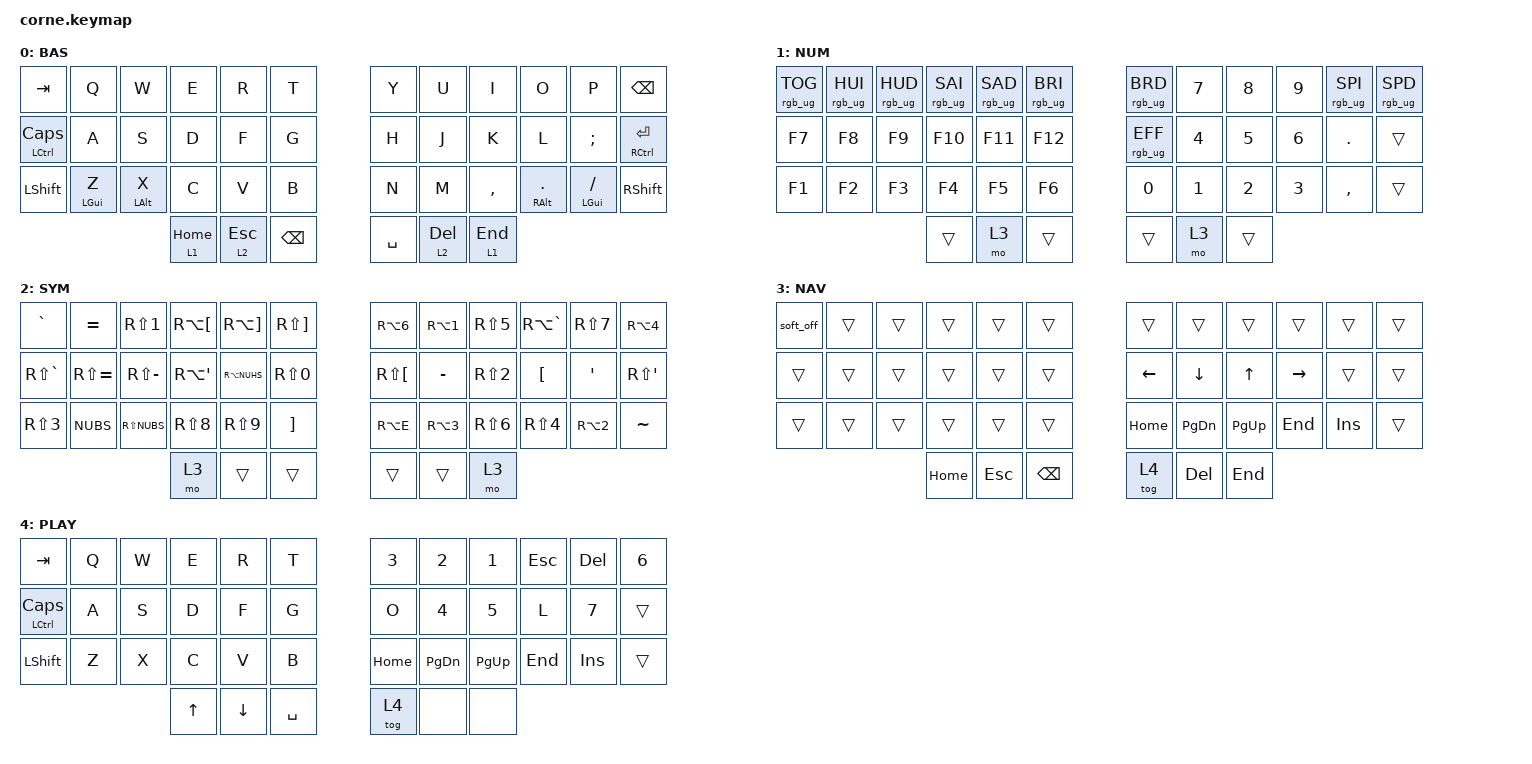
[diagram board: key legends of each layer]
/*
 * Copyright (c) 2020 The ZMK Contributors
 *
 * SPDX-License-Identifier: MIT
 */

#include <behaviors.dtsi>
#include <dt-bindings/zmk/bt.h>
#include <dt-bindings/zmk/keys.h>
#include <dt-bindings/zmk/mouse.h>
#include <dt-bindings/zmk/rgb.h>

//número de leds
&led_strip{
	chain-length = <27>;
};

&lt {
	tapping-term-ms = <100>;
	flavor = "hold-preferred";
};

/ {
	behaviors {
		tp_mt: tap-preferred-mod-tap {
			compatible = "zmk,behavior-hold-tap";
			#binding-cells = <2>;
			flavor = "tap-preferred";
			tapping-term-ms = <200>;
			bindings = <&kp>, <&kp>;
		};
	};
    keymap {
compatible = "zmk,keymap";

                default_layer {
                        display-name = "BAS";
// -----------------------------------------------------------------------------------------
// |  TAB |  Q  |  W  |  E  |  R  |  T  |   |  Y  |  U   |  I  |  O  |  P  | BKSP |
// |CL CPS|  A  |  S  |  D  |  F  |  G  |   |  H  |  J   |  K  |  L  |  ;  |CL NTR|
// | SHFT |GUI Z|ALT X|  C  |  V  |  B  |   |  N  |  M   |  ,  |RLT .|WIN -| SHFT |
//                    |HME L|ESC L| BSPC|   | SPC | DEL L|END L|
                        bindings = <
   &kp TAB   &kp Q &kp W &kp E &kp R &kp T   &kp Y &kp U  &kp I     &kp O   &kp P    &kp BSPC
   &mt LCTRL CAPS &kp A &kp S &kp D &kp F &kp G   &kp H &kp J  &kp K     &kp L   &kp SEMI &mt RCTRL ENTER 
   &kp LSHFT &tp_mt LGUI Z &tp_mt LALT X &kp C &kp V &kp B   &kp N &kp M  &kp COMMA &tp_mt RALT DOT &tp_mt LGUI FSLH &kp RSHFT
             &lt 1 HOME &lt 2 ESC &kp BSPC   &kp SPACE &lt 2 DEL &lt 1 END
                        >;
                };
		number_layer {
                        display-name = "NUM";
// -----------------------------------------------------------------------------------------
// | TRNS | TRNS| TRNS| TRNS| TRNS| TRNS|   | TRNS|  7  |  8  |  9  | TRNS| TRNS |
// | F7   | F8  | F9  | F10 | F11 | F12 |   | TRNS|  4  |  5  |  6  | DOT | TRNS |
// | F1   | F2  | F3  | F4  | F5  | F6  |   |  0  |  1  |  2  |  3  |COMMA| TRNS |
//                    | TRNS|MO(3)| TRNS|   | TRNS|MO(3)| TRNS|
                        bindings = <
   &rgb_ug RGB_TOG &rgb_ug RGB_HUI &rgb_ug RGB_HUD &rgb_ug RGB_SAI &rgb_ug RGB_SAD &rgb_ug RGB_BRI         &rgb_ug RGB_BRD  &kp N7   &kp N8 &kp N9  &rgb_ug RGB_SPI &rgb_ug RGB_SPD
   &kp F7 &kp F8 &kp F9 &kp F10 &kp F11 &kp F12                                         &rgb_ug RGB_EFF &kp N4 &kp N5 &kp N6 &kp DOT &trans
   &kp F1  &kp F2 &kp F3 &kp F4 &kp F5 &kp F6                                           &kp N0 &kp N1 &kp N2  &kp N3 &kp COMMA &trans
                     &trans  &mo 3  &trans      &trans  &mo 3   &trans
                        >;
                };
                symbol_layer {
                        display-name = "SYM";
// -----------------------------------------------------------------------------------------
// |  º	  |  ¡  |  !  |  [  |  ]  |  *  |   |  ¬  |  |  |  %  |  \  |  /  |  ~   |
// |  ª   |  ¿  |  ?  |  {  |  }  |  =  |   |  ^  |  '  |  "  |  `  |  ´  |  ¨   |
// |  ·   |  <  |  >  |  (  |  )  |  +  |   |  €  |  #  |  &  |  $  |  @  |  bt? |
//                    |MO(3)| TRNS| TRNS|   | TRNS| TRNS|MO(3)|
                        bindings = <
   &kp GRAVE &kp EQUAL &kp RS(N1) &kp RA(LBKT) &kp RA(RBKT) &kp RS(RBKT)                           &kp RA(N6) &kp RA(N1)  &kp RS(N5)  &kp RA(GRAVE)  &kp RS(N7) &kp RA(N4)
   &kp RS(GRAVE) &kp RS(EQUAL)   &kp RS(MINUS) &kp RA(SQT)   &kp RA(NUHS)  &kp RS(N0)          &kp RS(LBKT) &kp MINUS  &kp RS(N2)  &kp LBKT &kp SQT &kp RS(SQT)
   &kp RS(N3) &kp NUBS  &kp RS(NUBS) &kp RS(N8)   &kp RS(N9)   &kp RBKT                       &kp RA(E) &kp RA(N3)  &kp RS(N6)   &kp RS(N4) &kp RA(N2) &kp TILDE
                             		        &mo 3  &trans   &trans                      &trans   &trans    &mo 3
                        >;
                };

                nav_layer {
                        display-name = "NAV";
// -----------------------------------------------------------------------------------------
// |   	  |     |     |     |     |     |   |     |     |     |     |     |      |
// |      |     |     |     |     |     |   |  L  |  D  |  U  |  R  |     |      |
// |      |     |     |     |     |     |   |HOME |PGDN |PGUP | END | INS |      |
//                    |-----|-----|-----|   |-----|-----|-----|
                        bindings = <
   &soft_off &trans &trans &trans &trans &trans         &trans &trans &trans &trans &trans &trans   
   &trans &trans &trans &trans &trans &trans         &kp LEFT &kp DOWN &kp UP &kp RIGHT &trans &trans
   &trans &trans &trans &trans &trans &trans         &kp HOME &kp PG_DN  &kp PG_UP  &kp END &kp INS &trans
                  &kp HOME &kp ESC &kp BSPC          &tog 4 &kp DEL &kp END
                        >;
                };

                game_layer {
                        display-name = "PLAY";
// -----------------------------------------------------------------------------------------
// |   	  |     |     |     |     |     |   |     |     |     |     |     |      |
// |      |     |     |     |     |     |   |  L  |  D  |  U  |  R  |     |      |
// |      |     |     |     |     |     |   |HOME |PGDN |PGUP | END | INS |      |
//                    |-----|-----|-----|   |-----|-----|-----|
                        bindings = <
   &kp TAB &kp Q &kp W &kp E &kp R &kp T                &kp N3 &kp N2 &kp N1 &kp ESC &kp DEL &kp N6   
   &mt LCTRL CAPS &kp A &kp S &kp D &kp F &kp G         &kp O &kp N4 &kp N5 &kp L &kp N7 &trans
   &kp LSHFT &kp Z &kp X &kp C &kp V &kp B              &kp HOME &kp PG_DN  &kp PG_UP  &kp END &kp INS &trans
                  &kp UP &kp DOWN &kp SPACE             &tog 4 &none &none
                        >;
                };
    };
};
